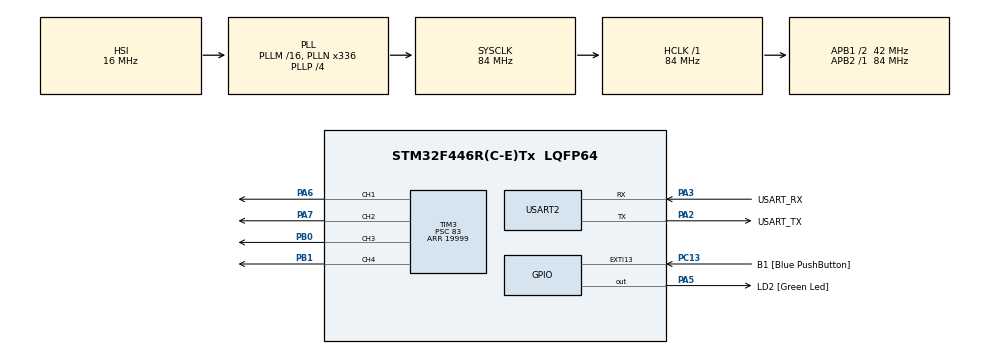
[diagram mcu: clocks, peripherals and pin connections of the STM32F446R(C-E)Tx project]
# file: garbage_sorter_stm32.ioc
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Mcu.Family=STM32F4
Mcu.Name=STM32F446R(C-E)Tx
Mcu.Package=LQFP64
NVIC.PriorityGroup=NVIC_PRIORITYGROUP_0
PA13.GPIO_Label=TMS
PA13.Mode=Serial_Wire
PA13.Signal=SYS_JTMS-SWDIO
PA14.GPIO_Label=TCK
PA14.Mode=Serial_Wire
PA14.Signal=SYS_JTCK-SWCLK
PA2.GPIO_Label=USART_TX
PA2.Mode=Asynchronous
PA2.Signal=USART2_TX
PA3.GPIO_Label=USART_RX
PA3.Mode=Asynchronous
PA3.Signal=USART2_RX
PA5.GPIO_Label=LD2 [Green Led]
PA5.Signal=GPIO_Output
PA6.Signal=S_TIM3_CH1
PA7.Signal=S_TIM3_CH2
PB0.Signal=S_TIM3_CH3
PB1.Signal=S_TIM3_CH4
PB3.GPIO_Label=SWO
PB3.Signal=SYS_JTDO-SWO
PC13.GPIO_Label=B1 [Blue PushButton]
PC13.GPIO_ModeDefaultEXTI=GPIO_MODE_IT_FALLING
PC13.Signal=GPXTI13
PC14-OSC32_IN.Mode=LSE-External-Oscillator
PC14-OSC32_IN.Signal=RCC_OSC32_IN
PC15-OSC32_OUT.Mode=LSE-External-Oscillator
PC15-OSC32_OUT.Signal=RCC_OSC32_OUT
PH0-OSC_IN.Mode=HSE-External-Oscillator
PH0-OSC_IN.Signal=RCC_OSC_IN
PH1-OSC_OUT.Mode=HSE-External-Oscillator
PH1-OSC_OUT.Signal=RCC_OSC_OUT
ProjectManager.HeapSize=0x200
ProjectManager.StackSize=0x400
ProjectManager.TargetToolchain=STM32CubeIDE
RCC.48MHZClocksFreq_Value=84000000
RCC.AHBFreq_Value=84000000
RCC.APB1CLKDivider=RCC_HCLK_DIV2
RCC.APB1Freq_Value=42000000
RCC.APB1TimFreq_Value=84000000
RCC.APB2Freq_Value=84000000
RCC.APB2TimFreq_Value=84000000
RCC.CortexFreq_Value=84000000
RCC.FLatency-AdvancedSettings=FLASH_LATENCY_2
RCC.HCLKFreq_Value=84000000
RCC.HSE_VALUE=8000000
RCC.HSI_VALUE=16000000
RCC.PLLN=336
RCC.PLLP=RCC_PLLP_DIV4
RCC.SYSCLKFreq_VALUE=84000000
RCC.SYSCLKSource=RCC_SYSCLKSOURCE_PLLCLK
RCC.USBFreq_Value=168000000
RCC.VCOOutputFreq_Value=336000000
SH.S_TIM3_CH1.0=TIM3_CH1,PWM Generation1 CH1
SH.S_TIM3_CH2.0=TIM3_CH2,PWM Generation2 CH2
SH.S_TIM3_CH3.0=TIM3_CH3,PWM Generation3 CH3
SH.S_TIM3_CH4.0=TIM3_CH4,PWM Generation4 CH4
TIM3.Channel-PWM\ Generation1\ CH1=TIM_CHANNEL_1
TIM3.Channel-PWM\ Generation2\ CH2=TIM_CHANNEL_2
TIM3.Channel-PWM\ Generation3\ CH3=TIM_CHANNEL_3
TIM3.Channel-PWM\ Generation4\ CH4=TIM_CHANNEL_4
TIM3.Period=19999
TIM3.Prescaler=83
TIM3.Pulse-PWM\ Generation1\ CH1=1500
TIM3.Pulse-PWM\ Generation2\ CH2=1500
TIM3.Pulse-PWM\ Generation3\ CH3=1500
TIM3.Pulse-PWM\ Generation4\ CH4=1500
USART2.VirtualMode=VM_ASYNC
VP_TIM3_VS_ClockSourceINT.Mode=Internal
board=NUCLEO-F446RE

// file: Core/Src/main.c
/* USER CODE BEGIN Header */
/**
  ******************************************************************************
  * @file           : main.c
  * @brief          : Main program body
  ******************************************************************************
  * @attention
  *
  * Copyright (c) 2026 STMicroelectronics.
  * All rights reserved.
  *
  * This software is licensed under terms that can be found in the LICENSE file
  * in the root directory of this software component.
  * If no LICENSE file comes with this software, it is provided AS-IS.
  *
  ******************************************************************************
  */
/* USER CODE END Header */
#include "main.h"

/* USER CODE BEGIN Includes */
#include <stdio.h>
#include <string.h>
#include "sorter_hardware.h"
#include "sorter_protocol.h"
#include "sorter_state.h"
/* USER CODE END Includes */

/* USER CODE BEGIN PD */
#define UART_COMMAND_BUFFER_LENGTH 128
/* USER CODE END PD */

TIM_HandleTypeDef htim3;

UART_HandleTypeDef huart2;

void SystemClock_Config(void);
static void MX_GPIO_Init(void);
static void MX_USART2_UART_Init(void);
static void MX_TIM3_Init(void);
/* USER CODE BEGIN PFP */
static void UART_SendLine(const char *line);
static void UART_SendProtocolResponse(const SorterProtocolResult *result);
static void UART_ProcessCommandLine(const char *command_line);
static void UART_HandleProtocolAction(const SorterProtocolResult *result);
static void UART_HandleSortCommand(const SorterProtocolResult *result);
static void UART_HandleTestCommand(SorterProtocolAction action);
static void UART_SendHardwareResult(const char *test_name, SorterHardwareStatus status);
static void UART_SendUltrasonicReading(const UltrasonicReading *reading);
/* USER CODE END PFP */

/* USER CODE BEGIN 0 */
static void UART_SendLine(const char *line)
{
  HAL_UART_Transmit(&huart2, (uint8_t*)line, strlen(line), HAL_MAX_DELAY);
  HAL_UART_Transmit(&huart2, (uint8_t*)"\r\n", 2, HAL_MAX_DELAY);
}

static void UART_SendProtocolResponse(const SorterProtocolResult *result)
{
  for (uint8_t i = 0; i < result->line_count; i++)
  {
    UART_SendLine(result->lines[i]);
  }
}

static void UART_ProcessCommandLine(const char *command_line)
{
  SorterProtocolResult result;
  SorterProtocol_HandleLine(command_line, &result);
  UART_SendProtocolResponse(&result);
  UART_HandleProtocolAction(&result);
}

static void UART_HandleProtocolAction(const SorterProtocolResult *result)
{
  switch (result->action)
  {
    case SORTER_PROTOCOL_ACTION_SORT:
      UART_HandleSortCommand(result);
      break;
    case SORTER_PROTOCOL_ACTION_TEST_DIVERTERS:
    case SORTER_PROTOCOL_ACTION_TEST_TRAPDOOR:
    case SORTER_PROTOCOL_ACTION_TEST_ULTRASONIC:
    case SORTER_PROTOCOL_ACTION_TEST_DISPLAY:
      UART_HandleTestCommand(result->action);
      break;
    case SORTER_PROTOCOL_ACTION_RESPOND_ONLY:
    default:
      break;
  }
}

static void UART_HandleSortCommand(const SorterProtocolResult *result)
{
  char response_line[UART_COMMAND_BUFFER_LENGTH];
  SorterHardwareStatus hardware_status;

  SorterState_Set(SORTER_STATE_COMMAND_RECEIVED);
  snprintf(response_line, sizeof(response_line), "ACK id=%d", result->command_id);
  UART_SendLine(response_line);
  HAL_GPIO_TogglePin(LD2_GPIO_Port, LD2_Pin);

  SorterState_Set(SORTER_STATE_SORTING);
  hardware_status = SorterHardware_ExecuteSort(result->class_name);

  if (hardware_status == SORTER_HW_STATUS_OK)
  {
    SorterState_Set(SORTER_STATE_IDLE);
    snprintf(response_line, sizeof(response_line), "DONE id=%d", result->command_id);
    UART_SendLine(response_line);
  }
  else
  {
    SorterState_Set(SORTER_STATE_ERROR);
    snprintf(
        response_line,
        sizeof(response_line),
        "ERROR id=%d message=%s",
        result->command_id,
        SorterHardwareStatus_ToMessage(hardware_status));
    UART_SendLine(response_line);
  }
}

static void UART_HandleTestCommand(SorterProtocolAction action)
{
  SorterHardwareStatus status;
  SorterBinReadings readings;

  switch (action)
  {
    case SORTER_PROTOCOL_ACTION_TEST_DIVERTERS:
      UART_SendLine("STATUS test=TEST_DIVERTERS result=START");
      status = SorterHardware_TestDiverters();
      UART_SendHardwareResult("TEST_DIVERTERS", status);
      break;
    case SORTER_PROTOCOL_ACTION_TEST_TRAPDOOR:
      UART_SendLine("STATUS test=TEST_TRAPDOOR result=START");
      status = SorterHardware_TestTrapdoor();
      UART_SendHardwareResult("TEST_TRAPDOOR", status);
      break;
    case SORTER_PROTOCOL_ACTION_TEST_ULTRASONIC:
      UART_SendLine("STATUS test=TEST_ULTRASONIC result=START");
      status = SorterHardware_TestUltrasonic(&readings);
      if (status != SORTER_HW_STATUS_NOT_CONFIGURED)
      {
        UART_SendUltrasonicReading(&readings.landfill);
        UART_SendUltrasonicReading(&readings.compost);
        UART_SendUltrasonicReading(&readings.recycling);
      }
      UART_SendHardwareResult("TEST_ULTRASONIC", status);
      break;
    case SORTER_PROTOCOL_ACTION_TEST_DISPLAY:
      UART_SendLine("STATUS test=TEST_DISPLAY result=START");
      status = SorterHardware_TestDisplay();
      UART_SendHardwareResult("TEST_DISPLAY", status);
      break;
    default:
      UART_SendLine("ERROR id=0 message=unknown_test");
      break;
  }
}

static void UART_SendHardwareResult(const char *test_name, SorterHardwareStatus status)
{
  char response_line[UART_COMMAND_BUFFER_LENGTH];

  if (status == SORTER_HW_STATUS_OK)
  {
    snprintf(response_line, sizeof(response_line), "DONE test=%s", test_name);
  }
  else
  {
    snprintf(
        response_line,
        sizeof(response_line),
        "ERROR id=0 message=%s",
        SorterHardwareStatus_ToMessage(status));
  }

  UART_SendLine(response_line);
}

static void UART_SendUltrasonicReading(const UltrasonicReading *reading)
{
  char response_line[UART_COMMAND_BUFFER_LENGTH];
  int distance_cm_x100 = (int)((reading->distance_cm * 100.0f) + 0.5f);

  snprintf(
      response_line,
      sizeof(response_line),
      "DISTANCE class=%s valid=%u cm_x100=%d",
      SorterClass_ToString(reading->bin_class),
      reading->valid,
      distance_cm_x100);
  UART_SendLine(response_line);
}
/* USER CODE END 0 */

int main(void)
{

  /* MCU Configuration--------------------------------------------------------*/

  /* Reset of all peripherals, Initializes the Flash interface and the Systick. */
  HAL_Init();

  /* Configure the system clock */
  SystemClock_Config();

  /* Initialize all configured peripherals */
  MX_GPIO_Init();
  MX_USART2_UART_Init();
  MX_TIM3_Init();
  /* USER CODE BEGIN 2 */
  char rx_buffer[UART_COMMAND_BUFFER_LENGTH];
  uint16_t rx_index = 0;
  uint8_t rx_byte;
  uint8_t discarding_long_command = 0;

  SorterProtocol_Init();
  (void)SorterHardware_Init();
  UART_SendLine("STM32 sorter firmware ready");
  /* USER CODE END 2 */

  /* Infinite loop */
  while (1)
  {

    /* USER CODE BEGIN 3 */
    HAL_UART_Receive(&huart2, &rx_byte, 1, HAL_MAX_DELAY);

    if (rx_byte == '\r' || rx_byte == '\n')
    {
      if (discarding_long_command)
      {
        discarding_long_command = 0;
        rx_index = 0;
      }
      else if (rx_index > 0)
      {
        rx_buffer[rx_index] = '\0';
        UART_ProcessCommandLine(rx_buffer);
        rx_index = 0;
      }
    }
    else if (!discarding_long_command)
    {
      if (rx_index < sizeof(rx_buffer) - 1)
      {
        rx_buffer[rx_index++] = (char)rx_byte;
      }
      else
      {
        rx_index = 0;
        discarding_long_command = 1;
        UART_SendLine("ERROR id=0 message=command_too_long");
      }
    }
  }
  /* USER CODE END 3 */
}

void SystemClock_Config(void)
{
  RCC_OscInitTypeDef RCC_OscInitStruct = {0};
  RCC_ClkInitTypeDef RCC_ClkInitStruct = {0};

  /** Configure the main internal regulator output voltage
  */
  __HAL_RCC_PWR_CLK_ENABLE();
  __HAL_PWR_VOLTAGESCALING_CONFIG(PWR_REGULATOR_VOLTAGE_SCALE3);

  /** Initializes the RCC Oscillators according to the specified parameters
  * in the RCC_OscInitTypeDef structure.
  */
  RCC_OscInitStruct.OscillatorType = RCC_OSCILLATORTYPE_HSI;
  RCC_OscInitStruct.HSIState = RCC_HSI_ON;
  RCC_OscInitStruct.HSICalibrationValue = RCC_HSICALIBRATION_DEFAULT;
  RCC_OscInitStruct.PLL.PLLState = RCC_PLL_ON;
  RCC_OscInitStruct.PLL.PLLSource = RCC_PLLSOURCE_HSI;
  RCC_OscInitStruct.PLL.PLLM = 16;
  RCC_OscInitStruct.PLL.PLLN = 336;
  RCC_OscInitStruct.PLL.PLLP = RCC_PLLP_DIV4;
  RCC_OscInitStruct.PLL.PLLQ = 2;
  RCC_OscInitStruct.PLL.PLLR = 2;
  if (HAL_RCC_OscConfig(&RCC_OscInitStruct) != HAL_OK)
  {
    Error_Handler();
  }

  /** Initializes the CPU, AHB and APB buses clocks
  */
  RCC_ClkInitStruct.ClockType = RCC_CLOCKTYPE_HCLK|RCC_CLOCKTYPE_SYSCLK
                              |RCC_CLOCKTYPE_PCLK1|RCC_CLOCKTYPE_PCLK2;
  RCC_ClkInitStruct.SYSCLKSource = RCC_SYSCLKSOURCE_PLLCLK;
  RCC_ClkInitStruct.AHBCLKDivider = RCC_SYSCLK_DIV1;
  RCC_ClkInitStruct.APB1CLKDivider = RCC_HCLK_DIV2;
  RCC_ClkInitStruct.APB2CLKDivider = RCC_HCLK_DIV1;

  if (HAL_RCC_ClockConfig(&RCC_ClkInitStruct, FLASH_LATENCY_2) != HAL_OK)
  {
    Error_Handler();
  }
}

static void MX_TIM3_Init(void)
{

  TIM_ClockConfigTypeDef sClockSourceConfig = {0};
  TIM_MasterConfigTypeDef sMasterConfig = {0};
  TIM_OC_InitTypeDef sConfigOC = {0};

  htim3.Instance = TIM3;
  htim3.Init.Prescaler = 83;
  htim3.Init.CounterMode = TIM_COUNTERMODE_UP;
  htim3.Init.Period = 19999;
  htim3.Init.ClockDivision = TIM_CLOCKDIVISION_DIV1;
  htim3.Init.AutoReloadPreload = TIM_AUTORELOAD_PRELOAD_DISABLE;
  if (HAL_TIM_Base_Init(&htim3) != HAL_OK)
  {
    Error_Handler();
  }
  sClockSourceConfig.ClockSource = TIM_CLOCKSOURCE_INTERNAL;
  if (HAL_TIM_ConfigClockSource(&htim3, &sClockSourceConfig) != HAL_OK)
  {
    Error_Handler();
  }
  if (HAL_TIM_PWM_Init(&htim3) != HAL_OK)
  {
    Error_Handler();
  }
  sMasterConfig.MasterOutputTrigger = TIM_TRGO_RESET;
  sMasterConfig.MasterSlaveMode = TIM_MASTERSLAVEMODE_DISABLE;
  if (HAL_TIMEx_MasterConfigSynchronization(&htim3, &sMasterConfig) != HAL_OK)
  {
    Error_Handler();
  }
  sConfigOC.OCMode = TIM_OCMODE_PWM1;
  sConfigOC.Pulse = 1500;
  sConfigOC.OCPolarity = TIM_OCPOLARITY_HIGH;
  sConfigOC.OCFastMode = TIM_OCFAST_DISABLE;
  if (HAL_TIM_PWM_ConfigChannel(&htim3, &sConfigOC, TIM_CHANNEL_1) != HAL_OK)
  {
    Error_Handler();
  }
  if (HAL_TIM_PWM_ConfigChannel(&htim3, &sConfigOC, TIM_CHANNEL_2) != HAL_OK)
  {
    Error_Handler();
  }
  if (HAL_TIM_PWM_ConfigChannel(&htim3, &sConfigOC, TIM_CHANNEL_3) != HAL_OK)
  {
    Error_Handler();
  }
  sConfigOC.Pulse = 1500;
  if (HAL_TIM_PWM_ConfigChannel(&htim3, &sConfigOC, TIM_CHANNEL_4) != HAL_OK)
  {
    Error_Handler();
  }
  HAL_TIM_MspPostInit(&htim3);

}

static void MX_USART2_UART_Init(void)
{

  huart2.Instance = USART2;
  huart2.Init.BaudRate = 115200;
  huart2.Init.WordLength = UART_WORDLENGTH_8B;
  huart2.Init.StopBits = UART_STOPBITS_1;
  huart2.Init.Parity = UART_PARITY_NONE;
  huart2.Init.Mode = UART_MODE_TX_RX;
  huart2.Init.HwFlowCtl = UART_HWCONTROL_NONE;
  huart2.Init.OverSampling = UART_OVERSAMPLING_16;
  if (HAL_UART_Init(&huart2) != HAL_OK)
  {
    Error_Handler();
  }

}

static void MX_GPIO_Init(void)
{
  GPIO_InitTypeDef GPIO_InitStruct = {0};

  /* GPIO Ports Clock Enable */
  __HAL_RCC_GPIOC_CLK_ENABLE();
  __HAL_RCC_GPIOH_CLK_ENABLE();
  __HAL_RCC_GPIOA_CLK_ENABLE();
  __HAL_RCC_GPIOB_CLK_ENABLE();

  /*Configure GPIO pin Output Level */
  HAL_GPIO_WritePin(LD2_GPIO_Port, LD2_Pin, GPIO_PIN_RESET);

  /*Configure GPIO pin : B1_Pin */
  GPIO_InitStruct.Pin = B1_Pin;
  GPIO_InitStruct.Mode = GPIO_MODE_IT_FALLING;
  GPIO_InitStruct.Pull = GPIO_NOPULL;
  HAL_GPIO_Init(B1_GPIO_Port, &GPIO_InitStruct);

  /*Configure GPIO pin : LD2_Pin */
  GPIO_InitStruct.Pin = LD2_Pin;
  GPIO_InitStruct.Mode = GPIO_MODE_OUTPUT_PP;
  GPIO_InitStruct.Pull = GPIO_NOPULL;
  GPIO_InitStruct.Speed = GPIO_SPEED_FREQ_LOW;
  HAL_GPIO_Init(LD2_GPIO_Port, &GPIO_InitStruct);

}

void Error_Handler(void)
{
  __disable_irq();
  while (1)
  {
  }
}
